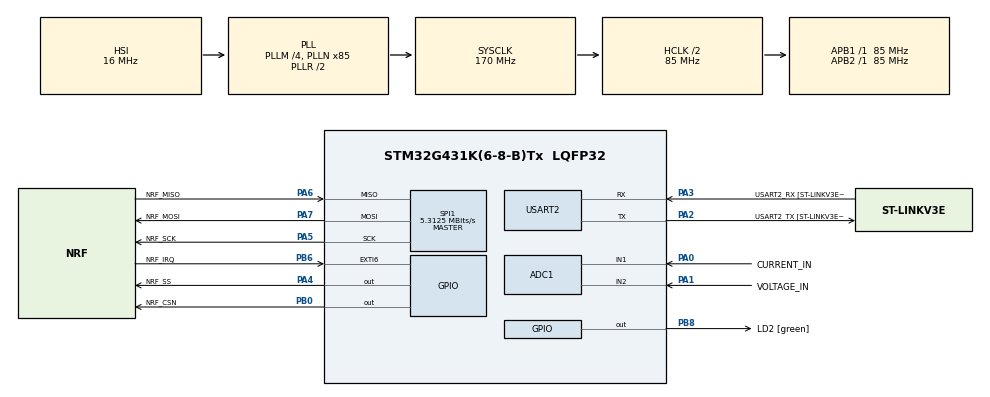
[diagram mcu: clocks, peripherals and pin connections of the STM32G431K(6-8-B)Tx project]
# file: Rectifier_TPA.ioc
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ADC1.Channel-1\#ChannelRegularConversion=ADC_CHANNEL_1
ADC1.Channel-3\#ChannelRegularConversion=ADC_CHANNEL_2
ADC1.ClockPrescaler=ADC_CLOCK_ASYNC_DIV16
ADC1.ContinuousConvMode=ENABLE
ADC1.DMAContinuousRequests=ENABLE
ADC1.NbrOfConversion=2
ADC1.NbrOfConversionFlag=1
ADC1.OffsetNumber-1\#ChannelRegularConversion=ADC_OFFSET_NONE
ADC1.OffsetNumber-3\#ChannelRegularConversion=ADC_OFFSET_NONE
ADC1.Overrun=ADC_OVR_DATA_PRESERVED
ADC1.Rank-1\#ChannelRegularConversion=1
ADC1.Rank-3\#ChannelRegularConversion=2
ADC1.SamplingTime-1\#ChannelRegularConversion=ADC_SAMPLETIME_640CYCLES_5
ADC1.SamplingTime-3\#ChannelRegularConversion=ADC_SAMPLETIME_640CYCLES_5
ADC1.master=1
Dma.ADC1.0.Direction=DMA_PERIPH_TO_MEMORY
Dma.ADC1.0.EventEnable=DISABLE
Dma.ADC1.0.Instance=DMA1_Channel1
Dma.ADC1.0.MemDataAlignment=DMA_MDATAALIGN_WORD
Dma.ADC1.0.MemInc=DMA_MINC_ENABLE
Dma.ADC1.0.Mode=DMA_CIRCULAR
Dma.ADC1.0.PeriphDataAlignment=DMA_PDATAALIGN_WORD
Dma.ADC1.0.PeriphInc=DMA_PINC_DISABLE
Dma.ADC1.0.Polarity=HAL_DMAMUX_REQ_GEN_RISING
Dma.ADC1.0.Priority=DMA_PRIORITY_LOW
Dma.ADC1.0.RequestNumber=1
Dma.ADC1.0.SignalID=NONE
Dma.ADC1.0.SyncEnable=DISABLE
Dma.ADC1.0.SyncPolarity=HAL_DMAMUX_SYNC_NO_EVENT
Dma.ADC1.0.SyncRequestNumber=1
Dma.ADC1.0.SyncSignalID=NONE
Dma.Request0=ADC1
Mcu.Family=STM32G4
Mcu.Name=STM32G431K(6-8-B)Tx
Mcu.Package=LQFP32
NVIC.ADC1_2_IRQn=true\:1\:0\:true\:false\:true\:true\:true\:true
NVIC.DMA1_Channel1_IRQn=true\:1\:0\:true\:false\:true\:false\:true\:true
NVIC.EXTI9_5_IRQn=true\:1\:0\:true\:false\:true\:true\:true\:true
NVIC.PriorityGroup=NVIC_PRIORITYGROUP_4
NVIC.TIM3_IRQn=true\:1\:0\:true\:false\:true\:true\:true\:true
NVIC.TIM4_IRQn=true\:1\:0\:true\:false\:true\:true\:true\:true
PA0.GPIO_Label=CURRENT_IN
PA0.Mode=IN1-Single-Ended
PA0.Signal=ADC1_IN1
PA1.GPIO_Label=VOLTAGE_IN
PA1.Signal=SharedAnalog_PA1
PA13.GPIO_Label=T_SWDIO
PA13.Mode=Serial_Wire
PA13.Signal=SYS_JTMS-SWDIO
PA14.GPIO_Label=T_SWCLK
PA14.Mode=Serial_Wire
PA14.Signal=SYS_JTCK-SWCLK
PA2.GPIO_Label=USART2_TX [ST-LINKV3E_VCP_RX]
PA2.Mode=Asynchronous
PA2.Signal=USART2_TX
PA3.GPIO_Label=USART2_RX [ST-LINKV3E_VCP_TX]
PA3.Mode=Asynchronous
PA3.Signal=USART2_RX
PA4.GPIO_Label=NRF_SS
PA4.GPIO_PuPd=GPIO_NOPULL
PA4.Signal=GPIO_Output
PA5.GPIO_Label=NRF_SCK
PA5.Mode=Full_Duplex_Master
PA5.Signal=SPI1_SCK
PA6.GPIO_Label=NRF_MISO
PA6.Mode=Full_Duplex_Master
PA6.Signal=SPI1_MISO
PA7.GPIO_Label=NRF_MOSI
PA7.Mode=Full_Duplex_Master
PA7.Signal=SPI1_MOSI
PB0.GPIO_Label=NRF_CSN
PB0.GPIO_PuPd=GPIO_PULLUP
PB0.Signal=GPIO_Output
PB3.GPIO_Label=T_SWO
PB3.Signal=SYS_JTDO-SWO
PB6.GPIO_Label=NRF_IRQ
PB6.GPIO_ModeDefaultEXTI=GPIO_MODE_IT_FALLING
PB6.Signal=GPXTI6
PB8-BOOT0.GPIO_Label=LD2 [green]
PB8-BOOT0.Signal=GPIO_Output
PF0-OSC_IN.Mode=HSE-External-Oscillator
PF0-OSC_IN.Signal=RCC_OSC_IN
PF1-OSC_OUT.Mode=HSE-External-Oscillator
PF1-OSC_OUT.Signal=RCC_OSC_OUT
ProjectManager.HeapSize=0x200
ProjectManager.StackSize=0x400
ProjectManager.TargetToolchain=STM32CubeIDE
RCC.ADC12Freq_Value=170000000
RCC.AHBCLKDivider=RCC_SYSCLK_DIV2
RCC.AHBFreq_Value=85000000
RCC.APB1Freq_Value=85000000
RCC.APB1TimFreq_Value=85000000
RCC.APB2Freq_Value=85000000
RCC.APB2TimFreq_Value=85000000
RCC.CK48CLockSelection=RCC_USBCLKSOURCE_HSI48
RCC.CortexFreq_Value=85000000
RCC.EXTERNAL_CLOCK_VALUE=12288000
RCC.HCLKFreq_Value=85000000
RCC.HSE_VALUE=8000000
RCC.HSI48_VALUE=48000000
RCC.HSI_VALUE=16000000
RCC.LSE_VALUE=32768
RCC.PLLM=RCC_PLLM_DIV4
RCC.PLLN=85
RCC.SYSCLKFreq_VALUE=170000000
RCC.SYSCLKSource=RCC_SYSCLKSOURCE_PLLCLK
RCC.USBFreq_Value=48000000
RCC.VCOOutputFreq_Value=340000000
SH.SharedAnalog_PA1.0=ADC2_IN2
SH.SharedAnalog_PA1.1=ADC1_IN2,IN2-Single-Ended
SPI1.BaudRatePrescaler=SPI_BAUDRATEPRESCALER_16
SPI1.CalculateBaudRate=5.3125 MBits/s
SPI1.DataSize=SPI_DATASIZE_8BIT
SPI1.Direction=SPI_DIRECTION_2LINES
SPI1.FirstBit=SPI_FIRSTBIT_MSB
SPI1.Mode=SPI_MODE_MASTER
SPI1.NSSPMode=SPI_NSS_PULSE_DISABLE
SPI1.VirtualType=VM_MASTER
TIM3.PeriodNoDither=62499
TIM3.Prescaler=1359
TIM4.PeriodNoDither=62499
TIM4.Prescaler=169
USART2.VirtualMode-Asynchronous=VM_ASYNC
USART2.WordLength=WORDLENGTH_8B
VP_RNG_VS_RNG.Mode=RNG_Activate
VP_SYS_VS_DBSignals.Mode=DisableDeadBatterySignals
VP_TIM3_VS_ClockSourceINT.Mode=Internal
VP_TIM4_VS_ClockSourceINT.Mode=Internal
board=NUCLEO-G431KB

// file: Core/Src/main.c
/* USER CODE BEGIN Header */
/**
 ******************************************************************************
 * @file           : main.c
 * @brief          : Main program body
 ******************************************************************************
 * @attention
 *
 * Copyright (c) 2025 STMicroelectronics.
 * All rights reserved.
 *
 * This software is licensed under terms that can be found in the LICENSE file
 * in the root directory of this software component.
 * If no LICENSE file comes with this software, it is provided AS-IS.
 *
 ******************************************************************************
 */
/* USER CODE END Header */
#include "main.h"

/* USER CODE BEGIN Includes */
#include "Drivers/myNRF.h"
#include <string.h>
#include <stdio.h>
#include <stdbool.h>
/* USER CODE END Includes */

/* USER CODE BEGIN PTD */
typedef struct DATA {
	uint32_t I_out_int;
	uint32_t V_out_int;
} data_t;

typedef struct MESSAGE {
	uint32_t id;
	uint32_t status;
	data_t data;

} message_t;

typedef enum TRANSMITER_STATUS {
	CHARGING, // заряжается
	SEARCHING, // в поиске зарядной станции
	CHARGED,   // заряжен
	OUTOFRANGE, // выход за границы диапазона нормального заряда
} Transmiter_status_e;
/* USER CODE END PTD */

/* USER CODE BEGIN PD */

// пороги переключения статуса коптера
#define lowCurrentThreshold 10
#define lowVoltageThreshold 400
#define highCurrentThreshold 3500
#define highVoltageThreshold 3500
#define overCurrentThreshold 4000
#define overVoltageThreshold 4000

/* USER CODE END PD */

ADC_HandleTypeDef hadc1;
DMA_HandleTypeDef hdma_adc1;

RNG_HandleTypeDef hrng;

SPI_HandleTypeDef hspi1;

TIM_HandleTypeDef htim3;
TIM_HandleTypeDef htim4;

UART_HandleTypeDef huart2;

/* USER CODE BEGIN PV */

// Переменные дл�? контрол�? конечного аппарата
data_t data = {
		.V_out_int = 0,
		.I_out_int = 0
};

volatile message_t message = {
		.id = 0,
		.status = SEARCHING,
		.data.V_out_int = 0,
		.data.I_out_int = 0
};

// Переменные дл�? коммуникации по NRF
const uint32_t pipe = 1024; // адрес рабочей трубы;
/* USER CODE END PV */

void SystemClock_Config(void);
static void MX_GPIO_Init(void);
static void MX_DMA_Init(void);
static void MX_ADC1_Init(void);
static void MX_USART2_UART_Init(void);
static void MX_SPI1_Init(void);
static void MX_RNG_Init(void);
static void MX_TIM3_Init(void);
static void MX_TIM4_Init(void);
/* USER CODE BEGIN PFP */
const void NRF24_Init(void);
/* USER CODE END PFP */

/* USER CODE BEGIN 0 */

void HAL_TIM_PeriodElapsedCallback(TIM_HandleTypeDef *htim) {

	if ((data.I_out_int < lowCurrentThreshold) && (data.V_out_int < lowVoltageThreshold)) {
				message.status = SEARCHING;
	} else if ((data.I_out_int >= lowCurrentThreshold)
							&& (data.I_out_int < highCurrentThreshold)
							&& (data.V_out_int >= lowVoltageThreshold)
							&& (data.V_out_int < highVoltageThreshold)) {
				message.status = CHARGING;
	} else if ((data.I_out_int > highCurrentThreshold)
							&& (data.V_out_int > highVoltageThreshold)
							&& (data.I_out_int < overCurrentThreshold)
							&& (data.V_out_int < overVoltageThreshold)) {
				message.status = CHARGED;
	} else if ((data.I_out_int > overCurrentThreshold)
						|| (data.V_out_int > overVoltageThreshold)) {
				message.status = OUTOFRANGE;
	}

	if (htim->Instance == TIM3) {
		// period = 0.5 s
		if (message.status == SEARCHING){
			message.data.I_out_int = data.I_out_int;
			message.data.V_out_int = data.V_out_int;
			NRF24_write(&message, sizeof(message));

		}
	}

	if (htim->Instance == TIM4) {
			// period = 0.05 s
		if (message.status != SEARCHING){
			message.data.I_out_int = data.I_out_int;
			message.data.V_out_int = data.V_out_int;
			NRF24_write(&message, sizeof(message));

		}
	}

}

const void NRF24_Init() {
	NRF24_begin(hspi1);
	nrf24_DebugUART_Init(huart2);
	NRF24_setDataRate(RF24_250KBPS);
	NRF24_setCRCLength(RF24_CRC_16);
	NRF24_setPALevel(RF24_PA_m18dB);
	NRF24_setChannel(0x6f);
	NRF24_setPayloadSize(sizeof(message));
	NRF24_disableDynamicPayloads();
	NRF24_setAutoAck(0);
	NRF24_powerUp();
	NRF24_stopListening();
	NRF24_openWritingPipe(pipe);
	printRadioSettings();
	printStatusReg();
	printConfigReg();
	printFIFOstatus();

}

int __io_putchar(int ch) {
	HAL_UART_Transmit(&huart2, (uint8_t*) &ch, 1, 0xFFFF);
}
/* USER CODE END 0 */

int main(void)
{

  /* MCU Configuration--------------------------------------------------------*/

  /* Reset of all peripherals, Initializes the Flash interface and the Systick. */
  HAL_Init();

  /* Configure the system clock */
  SystemClock_Config();

  /* Initialize all configured peripherals */
  MX_GPIO_Init();
  MX_DMA_Init();
  MX_ADC1_Init();
  MX_USART2_UART_Init();
  MX_SPI1_Init();
  MX_RNG_Init();
  MX_TIM3_Init();
  MX_TIM4_Init();
  /* USER CODE BEGIN 2 */
	HAL_ADCEx_Calibration_Start(&hadc1, ADC_SINGLE_ENDED);
	//GPIO_Init();
//    csn_high();
//	ce_low();
	HAL_Delay(5);
	printf("Init NRF...\n\r");
	NRF24_Init();
	HAL_Delay(5000);

	// Один раз при инициализации присваиваем сообщениям случайный id
	HAL_StatusTypeDef initId = HAL_RNG_GenerateRandomNumber(&hrng, &message.id);

	if (initId == HAL_OK) {
		printf("Init complete! My Id: %li\n\r", message.id);

	} else {
		Error_Handler();
	}
  /* USER CODE END 2 */

  /* Infinite loop */
  /* USER CODE BEGIN WHILE */
	HAL_TIM_Base_Start_IT(&htim3);
	HAL_TIM_Base_Start_IT(&htim4);
	HAL_ADC_Start_DMA(&hadc1, (uint32_t*) &data, 2);
	while (1) {

		printf("My Id: %li\n\r", message.id);
		printf("My status: %li\n\r", message.status);
		printf("I int: %li\n\r", message.data.I_out_int);
		printf("V int: %li\n\r", message.data.V_out_int);
    /* USER CODE END WHILE */

	}
}

void SystemClock_Config(void)
{
  RCC_OscInitTypeDef RCC_OscInitStruct = {0};
  RCC_ClkInitTypeDef RCC_ClkInitStruct = {0};

  /** Configure the main internal regulator output voltage
  */
  HAL_PWREx_ControlVoltageScaling(PWR_REGULATOR_VOLTAGE_SCALE1);

  /** Initializes the RCC Oscillators according to the specified parameters
  * in the RCC_OscInitTypeDef structure.
  */
  RCC_OscInitStruct.OscillatorType = RCC_OSCILLATORTYPE_HSI|RCC_OSCILLATORTYPE_HSI48;
  RCC_OscInitStruct.HSIState = RCC_HSI_ON;
  RCC_OscInitStruct.HSICalibrationValue = RCC_HSICALIBRATION_DEFAULT;
  RCC_OscInitStruct.HSI48State = RCC_HSI48_ON;
  RCC_OscInitStruct.PLL.PLLState = RCC_PLL_ON;
  RCC_OscInitStruct.PLL.PLLSource = RCC_PLLSOURCE_HSI;
  RCC_OscInitStruct.PLL.PLLM = RCC_PLLM_DIV4;
  RCC_OscInitStruct.PLL.PLLN = 85;
  RCC_OscInitStruct.PLL.PLLP = RCC_PLLP_DIV2;
  RCC_OscInitStruct.PLL.PLLQ = RCC_PLLQ_DIV2;
  RCC_OscInitStruct.PLL.PLLR = RCC_PLLR_DIV2;
  if (HAL_RCC_OscConfig(&RCC_OscInitStruct) != HAL_OK)
  {
    Error_Handler();
  }

  /** Initializes the CPU, AHB and APB buses clocks
  */
  RCC_ClkInitStruct.ClockType = RCC_CLOCKTYPE_HCLK|RCC_CLOCKTYPE_SYSCLK
                              |RCC_CLOCKTYPE_PCLK1|RCC_CLOCKTYPE_PCLK2;
  RCC_ClkInitStruct.SYSCLKSource = RCC_SYSCLKSOURCE_PLLCLK;
  RCC_ClkInitStruct.AHBCLKDivider = RCC_SYSCLK_DIV2;
  RCC_ClkInitStruct.APB1CLKDivider = RCC_HCLK_DIV1;
  RCC_ClkInitStruct.APB2CLKDivider = RCC_HCLK_DIV1;

  if (HAL_RCC_ClockConfig(&RCC_ClkInitStruct, FLASH_LATENCY_2) != HAL_OK)
  {
    Error_Handler();
  }
}

static void MX_ADC1_Init(void)
{

  ADC_MultiModeTypeDef multimode = {0};
  ADC_ChannelConfTypeDef sConfig = {0};

  /** Common config
  */
  hadc1.Instance = ADC1;
  hadc1.Init.ClockPrescaler = ADC_CLOCK_ASYNC_DIV16;
  hadc1.Init.Resolution = ADC_RESOLUTION_12B;
  hadc1.Init.DataAlign = ADC_DATAALIGN_RIGHT;
  hadc1.Init.GainCompensation = 0;
  hadc1.Init.ScanConvMode = ADC_SCAN_ENABLE;
  hadc1.Init.EOCSelection = ADC_EOC_SINGLE_CONV;
  hadc1.Init.LowPowerAutoWait = DISABLE;
  hadc1.Init.ContinuousConvMode = ENABLE;
  hadc1.Init.NbrOfConversion = 2;
  hadc1.Init.DiscontinuousConvMode = DISABLE;
  hadc1.Init.ExternalTrigConv = ADC_SOFTWARE_START;
  hadc1.Init.ExternalTrigConvEdge = ADC_EXTERNALTRIGCONVEDGE_NONE;
  hadc1.Init.DMAContinuousRequests = ENABLE;
  hadc1.Init.Overrun = ADC_OVR_DATA_PRESERVED;
  hadc1.Init.OversamplingMode = DISABLE;
  if (HAL_ADC_Init(&hadc1) != HAL_OK)
  {
    Error_Handler();
  }

  /** Configure the ADC multi-mode
  */
  multimode.Mode = ADC_MODE_INDEPENDENT;
  if (HAL_ADCEx_MultiModeConfigChannel(&hadc1, &multimode) != HAL_OK)
  {
    Error_Handler();
  }

  /** Configure Regular Channel
  */
  sConfig.Channel = ADC_CHANNEL_1;
  sConfig.Rank = ADC_REGULAR_RANK_1;
  sConfig.SamplingTime = ADC_SAMPLETIME_640CYCLES_5;
  sConfig.SingleDiff = ADC_SINGLE_ENDED;
  sConfig.OffsetNumber = ADC_OFFSET_NONE;
  sConfig.Offset = 0;
  if (HAL_ADC_ConfigChannel(&hadc1, &sConfig) != HAL_OK)
  {
    Error_Handler();
  }

  /** Configure Regular Channel
  */
  sConfig.Channel = ADC_CHANNEL_2;
  sConfig.Rank = ADC_REGULAR_RANK_2;
  if (HAL_ADC_ConfigChannel(&hadc1, &sConfig) != HAL_OK)
  {
    Error_Handler();
  }

}

static void MX_RNG_Init(void)
{

  hrng.Instance = RNG;
  hrng.Init.ClockErrorDetection = RNG_CED_ENABLE;
  if (HAL_RNG_Init(&hrng) != HAL_OK)
  {
    Error_Handler();
  }

}

static void MX_SPI1_Init(void)
{

  /* SPI1 parameter configuration*/
  hspi1.Instance = SPI1;
  hspi1.Init.Mode = SPI_MODE_MASTER;
  hspi1.Init.Direction = SPI_DIRECTION_2LINES;
  hspi1.Init.DataSize = SPI_DATASIZE_8BIT;
  hspi1.Init.CLKPolarity = SPI_POLARITY_LOW;
  hspi1.Init.CLKPhase = SPI_PHASE_1EDGE;
  hspi1.Init.NSS = SPI_NSS_SOFT;
  hspi1.Init.BaudRatePrescaler = SPI_BAUDRATEPRESCALER_16;
  hspi1.Init.FirstBit = SPI_FIRSTBIT_MSB;
  hspi1.Init.TIMode = SPI_TIMODE_DISABLE;
  hspi1.Init.CRCCalculation = SPI_CRCCALCULATION_DISABLE;
  hspi1.Init.CRCPolynomial = 7;
  hspi1.Init.CRCLength = SPI_CRC_LENGTH_DATASIZE;
  hspi1.Init.NSSPMode = SPI_NSS_PULSE_DISABLE;
  if (HAL_SPI_Init(&hspi1) != HAL_OK)
  {
    Error_Handler();
  }
  /* USER CODE BEGIN SPI1_Init 2 */
	__HAL_SPI_ENABLE(&hspi1);
  /* USER CODE END SPI1_Init 2 */

}

static void MX_TIM3_Init(void)
{

  TIM_ClockConfigTypeDef sClockSourceConfig = {0};
  TIM_MasterConfigTypeDef sMasterConfig = {0};

  htim3.Instance = TIM3;
  htim3.Init.Prescaler = 1359;
  htim3.Init.CounterMode = TIM_COUNTERMODE_UP;
  htim3.Init.Period = 62499;
  htim3.Init.ClockDivision = TIM_CLOCKDIVISION_DIV1;
  htim3.Init.AutoReloadPreload = TIM_AUTORELOAD_PRELOAD_DISABLE;
  if (HAL_TIM_Base_Init(&htim3) != HAL_OK)
  {
    Error_Handler();
  }
  sClockSourceConfig.ClockSource = TIM_CLOCKSOURCE_INTERNAL;
  if (HAL_TIM_ConfigClockSource(&htim3, &sClockSourceConfig) != HAL_OK)
  {
    Error_Handler();
  }
  sMasterConfig.MasterOutputTrigger = TIM_TRGO_RESET;
  sMasterConfig.MasterSlaveMode = TIM_MASTERSLAVEMODE_DISABLE;
  if (HAL_TIMEx_MasterConfigSynchronization(&htim3, &sMasterConfig) != HAL_OK)
  {
    Error_Handler();
  }

}

static void MX_TIM4_Init(void)
{

  TIM_ClockConfigTypeDef sClockSourceConfig = {0};
  TIM_MasterConfigTypeDef sMasterConfig = {0};

  htim4.Instance = TIM4;
  htim4.Init.Prescaler = 169;
  htim4.Init.CounterMode = TIM_COUNTERMODE_UP;
  htim4.Init.Period = 62499;
  htim4.Init.ClockDivision = TIM_CLOCKDIVISION_DIV1;
  htim4.Init.AutoReloadPreload = TIM_AUTORELOAD_PRELOAD_DISABLE;
  if (HAL_TIM_Base_Init(&htim4) != HAL_OK)
  {
    Error_Handler();
  }
  sClockSourceConfig.ClockSource = TIM_CLOCKSOURCE_INTERNAL;
  if (HAL_TIM_ConfigClockSource(&htim4, &sClockSourceConfig) != HAL_OK)
  {
    Error_Handler();
  }
  sMasterConfig.MasterOutputTrigger = TIM_TRGO_RESET;
  sMasterConfig.MasterSlaveMode = TIM_MASTERSLAVEMODE_DISABLE;
  if (HAL_TIMEx_MasterConfigSynchronization(&htim4, &sMasterConfig) != HAL_OK)
  {
    Error_Handler();
  }

}

static void MX_USART2_UART_Init(void)
{

  huart2.Instance = USART2;
  huart2.Init.BaudRate = 115200;
  huart2.Init.WordLength = UART_WORDLENGTH_8B;
  huart2.Init.StopBits = UART_STOPBITS_1;
  huart2.Init.Parity = UART_PARITY_NONE;
  huart2.Init.Mode = UART_MODE_TX_RX;
  huart2.Init.HwFlowCtl = UART_HWCONTROL_NONE;
  huart2.Init.OverSampling = UART_OVERSAMPLING_16;
  huart2.Init.OneBitSampling = UART_ONE_BIT_SAMPLE_DISABLE;
  huart2.Init.ClockPrescaler = UART_PRESCALER_DIV1;
  huart2.AdvancedInit.AdvFeatureInit = UART_ADVFEATURE_NO_INIT;
  if (HAL_UART_Init(&huart2) != HAL_OK)
  {
    Error_Handler();
  }
  if (HAL_UARTEx_SetTxFifoThreshold(&huart2, UART_TXFIFO_THRESHOLD_1_8) != HAL_OK)
  {
    Error_Handler();
  }
  if (HAL_UARTEx_SetRxFifoThreshold(&huart2, UART_RXFIFO_THRESHOLD_1_8) != HAL_OK)
  {
    Error_Handler();
  }
  if (HAL_UARTEx_DisableFifoMode(&huart2) != HAL_OK)
  {
    Error_Handler();
  }

}

static void MX_DMA_Init(void)
{

  /* DMA controller clock enable */
  __HAL_RCC_DMAMUX1_CLK_ENABLE();
  __HAL_RCC_DMA1_CLK_ENABLE();

  /* DMA interrupt init */
  /* DMA1_Channel1_IRQn interrupt configuration */
  HAL_NVIC_SetPriority(DMA1_Channel1_IRQn, 1, 0);
  HAL_NVIC_EnableIRQ(DMA1_Channel1_IRQn);

}

static void MX_GPIO_Init(void)
{
  GPIO_InitTypeDef GPIO_InitStruct = {0};

  /* GPIO Ports Clock Enable */
  __HAL_RCC_GPIOF_CLK_ENABLE();
  __HAL_RCC_GPIOA_CLK_ENABLE();
  __HAL_RCC_GPIOB_CLK_ENABLE();

  /*Configure GPIO pin Output Level */
  HAL_GPIO_WritePin(NRF_SS_GPIO_Port, NRF_SS_Pin, GPIO_PIN_RESET);

  /*Configure GPIO pin Output Level */
  HAL_GPIO_WritePin(GPIOB, NRF_CSN_Pin|LD2_Pin, GPIO_PIN_RESET);

  /*Configure GPIO pin : VOLTAGE_IN_Pin */
  GPIO_InitStruct.Pin = VOLTAGE_IN_Pin;
  GPIO_InitStruct.Mode = GPIO_MODE_ANALOG;
  GPIO_InitStruct.Pull = GPIO_NOPULL;
  HAL_GPIO_Init(VOLTAGE_IN_GPIO_Port, &GPIO_InitStruct);

  /*Configure GPIO pin : NRF_SS_Pin */
  GPIO_InitStruct.Pin = NRF_SS_Pin;
  GPIO_InitStruct.Mode = GPIO_MODE_OUTPUT_PP;
  GPIO_InitStruct.Pull = GPIO_NOPULL;
  GPIO_InitStruct.Speed = GPIO_SPEED_FREQ_LOW;
  HAL_GPIO_Init(NRF_SS_GPIO_Port, &GPIO_InitStruct);

  /*Configure GPIO pin : NRF_CSN_Pin */
  GPIO_InitStruct.Pin = NRF_CSN_Pin;
  GPIO_InitStruct.Mode = GPIO_MODE_OUTPUT_PP;
  GPIO_InitStruct.Pull = GPIO_PULLUP;
  GPIO_InitStruct.Speed = GPIO_SPEED_FREQ_LOW;
  HAL_GPIO_Init(NRF_CSN_GPIO_Port, &GPIO_InitStruct);

  /*Configure GPIO pin : NRF_IRQ_Pin */
  GPIO_InitStruct.Pin = NRF_IRQ_Pin;
  GPIO_InitStruct.Mode = GPIO_MODE_IT_FALLING;
  GPIO_InitStruct.Pull = GPIO_NOPULL;
  HAL_GPIO_Init(NRF_IRQ_GPIO_Port, &GPIO_InitStruct);

  /*Configure GPIO pin : LD2_Pin */
  GPIO_InitStruct.Pin = LD2_Pin;
  GPIO_InitStruct.Mode = GPIO_MODE_OUTPUT_PP;
  GPIO_InitStruct.Pull = GPIO_NOPULL;
  GPIO_InitStruct.Speed = GPIO_SPEED_FREQ_LOW;
  HAL_GPIO_Init(LD2_GPIO_Port, &GPIO_InitStruct);

  /* EXTI interrupt init*/
  HAL_NVIC_SetPriority(EXTI9_5_IRQn, 1, 0);
  HAL_NVIC_EnableIRQ(EXTI9_5_IRQn);

}

void Error_Handler(void)
{
  /* USER CODE BEGIN Error_Handler_Debug */
	/* User can add his own implementation to report the HAL error return state */
	__disable_irq();
	while (1) {
		printf("Error in init code");
	}
  /* USER CODE END Error_Handler_Debug */
}
